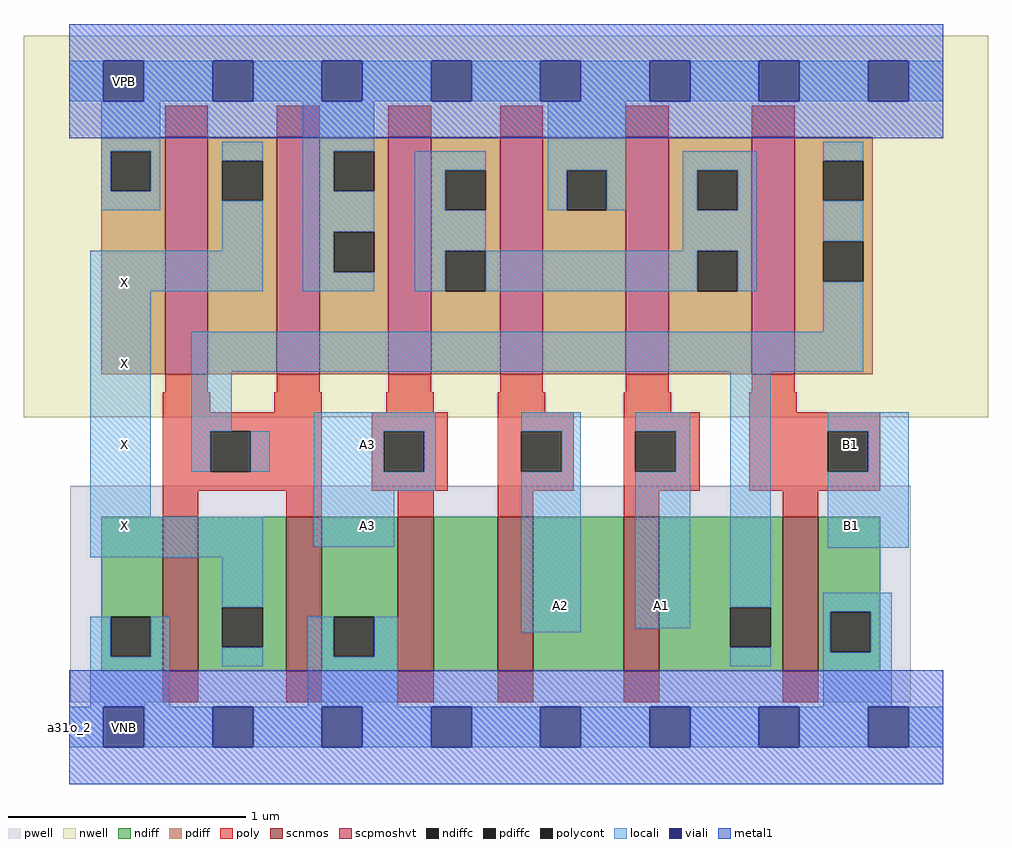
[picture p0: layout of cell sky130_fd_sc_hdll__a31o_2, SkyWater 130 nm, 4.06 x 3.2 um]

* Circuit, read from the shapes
.subckt sky130_fd_sc_hdll__a31o_2 A1 A2 A3 B1 VGND VNB VPB VPWR X
XM1 X n1 VGND VNB sky130_fd_pr__nfet_01v8 w=0.65 l=0.15 m=2
XM2 n2 A3 VGND VNB sky130_fd_pr__nfet_01v8 w=0.65 l=0.15
XM3 n3 A2 n2 VNB sky130_fd_pr__nfet_01v8 w=0.65 l=0.15
XM4 n1 A1 n3 VNB sky130_fd_pr__nfet_01v8 w=0.65 l=0.15
XM5 VGND B1 n1 VNB sky130_fd_pr__nfet_01v8 w=0.65 l=0.15
XM6 X n1 VPWR VPB sky130_fd_pr__pfet_01v8_hvt w=1 l=0.18 m=2
XM7 n4 A3 VPWR VPB sky130_fd_pr__pfet_01v8_hvt w=1 l=0.18
XM8 VPWR A2 n4 VPB sky130_fd_pr__pfet_01v8_hvt w=1 l=0.18
XM9 n4 A1 VPWR VPB sky130_fd_pr__pfet_01v8_hvt w=1 l=0.18
XM10 n1 B1 n4 VPB sky130_fd_pr__pfet_01v8_hvt w=1 l=0.18
.ends

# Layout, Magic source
magic
tech sky130A
magscale 1 2
<< nwell >>
rect -38 261 774 582
<< pwell >>
rect 1 21 709 203
rect 30 -17 64 21
<< scnmos >>
rect 79 47 109 177
rect 183 47 213 177
rect 277 47 307 177
rect 361 47 391 177
rect 467 47 497 177
rect 601 47 631 177
<< scpmoshvt >>
rect 81 297 117 497
rect 175 297 211 497
rect 269 297 305 497
rect 363 297 399 497
rect 469 297 505 497
rect 575 297 611 497
<< ndiff >>
rect 27 93 79 177
rect 27 59 35 93
rect 69 59 79 93
rect 27 47 79 59
rect 109 101 183 177
rect 109 67 129 101
rect 163 67 183 101
rect 109 47 183 67
rect 213 93 277 177
rect 213 59 223 93
rect 257 59 277 93
rect 213 47 277 59
rect 307 47 361 177
rect 391 47 467 177
rect 497 101 601 177
rect 497 67 557 101
rect 591 67 601 101
rect 497 47 601 67
rect 631 97 683 177
rect 631 63 641 97
rect 675 63 683 97
rect 631 47 683 63
<< pdiff >>
rect 27 485 81 497
rect 27 451 35 485
rect 69 451 81 485
rect 27 297 81 451
rect 117 477 175 497
rect 117 443 129 477
rect 163 443 175 477
rect 117 297 175 443
rect 211 485 269 497
rect 211 451 223 485
rect 257 451 269 485
rect 211 417 269 451
rect 211 383 223 417
rect 257 383 269 417
rect 211 297 269 383
rect 305 469 363 497
rect 305 435 317 469
rect 351 435 363 469
rect 305 401 363 435
rect 305 367 317 401
rect 351 367 363 401
rect 305 297 363 367
rect 399 469 469 497
rect 399 435 419 469
rect 453 435 469 469
rect 399 297 469 435
rect 505 469 575 497
rect 505 435 529 469
rect 563 435 575 469
rect 505 401 575 435
rect 505 367 529 401
rect 563 367 575 401
rect 505 297 575 367
rect 611 477 677 497
rect 611 443 635 477
rect 669 443 677 477
rect 611 409 677 443
rect 611 375 635 409
rect 669 375 677 409
rect 611 297 677 375
<< ndiffc >>
rect 35 59 69 93
rect 129 67 163 101
rect 223 59 257 93
rect 557 67 591 101
rect 641 63 675 97
<< pdiffc >>
rect 35 451 69 485
rect 129 443 163 477
rect 223 451 257 485
rect 223 383 257 417
rect 317 435 351 469
rect 317 367 351 401
rect 419 435 453 469
rect 529 435 563 469
rect 529 367 563 401
rect 635 443 669 477
rect 635 375 669 409
<< poly >>
rect 81 497 117 523
rect 175 497 211 523
rect 269 497 305 523
rect 363 497 399 523
rect 469 497 505 523
rect 575 497 611 523
rect 81 282 117 297
rect 175 282 211 297
rect 269 282 305 297
rect 363 282 399 297
rect 469 282 505 297
rect 575 282 611 297
rect 79 265 119 282
rect 173 265 213 282
rect 267 265 307 282
rect 361 265 401 282
rect 467 265 507 282
rect 573 265 613 282
rect 79 249 213 265
rect 79 215 119 249
rect 153 215 213 249
rect 79 199 213 215
rect 255 249 319 265
rect 255 215 265 249
rect 299 215 319 249
rect 255 199 319 215
rect 361 249 425 265
rect 361 215 381 249
rect 415 215 425 249
rect 361 199 425 215
rect 467 249 531 265
rect 467 215 477 249
rect 511 215 531 249
rect 467 199 531 215
rect 573 249 683 265
rect 573 215 639 249
rect 673 215 683 249
rect 573 199 683 215
rect 79 177 109 199
rect 183 177 213 199
rect 277 177 307 199
rect 361 177 391 199
rect 467 177 497 199
rect 601 177 631 199
rect 79 21 109 47
rect 183 21 213 47
rect 277 21 307 47
rect 361 21 391 47
rect 467 21 497 47
rect 601 21 631 47
<< polycont >>
rect 119 215 153 249
rect 265 215 299 249
rect 381 215 415 249
rect 477 215 511 249
rect 639 215 673 249
<< locali >>
rect 0 527 29 561
rect 63 527 121 561
rect 155 527 213 561
rect 247 527 305 561
rect 339 527 397 561
rect 431 527 489 561
rect 523 527 581 561
rect 615 527 673 561
rect 707 527 736 561
rect 27 485 77 527
rect 27 451 35 485
rect 69 451 77 485
rect 27 435 77 451
rect 129 477 163 493
rect 129 401 163 443
rect 18 367 163 401
rect 197 485 257 527
rect 197 451 223 485
rect 197 417 257 451
rect 197 383 223 417
rect 197 367 257 383
rect 291 469 351 485
rect 291 435 317 469
rect 403 469 469 527
rect 403 435 419 469
rect 453 435 469 469
rect 517 469 579 485
rect 517 435 529 469
rect 563 435 579 469
rect 291 401 351 435
rect 517 401 579 435
rect 291 367 317 401
rect 351 367 529 401
rect 563 367 579 401
rect 635 477 669 493
rect 635 409 669 443
rect 18 177 69 367
rect 635 333 669 375
rect 103 299 669 333
rect 103 249 137 299
rect 206 249 309 265
rect 103 215 119 249
rect 153 215 169 249
rect 206 215 265 249
rect 299 215 309 249
rect 206 199 309 215
rect 381 249 431 265
rect 415 215 431 249
rect 18 143 163 177
rect 206 152 274 199
rect 129 101 163 143
rect 18 59 35 93
rect 69 59 85 93
rect 18 17 85 59
rect 129 51 163 67
rect 201 59 223 93
rect 257 59 277 93
rect 381 80 431 215
rect 477 249 523 265
rect 511 215 523 249
rect 477 83 523 215
rect 557 101 591 299
rect 639 249 707 265
rect 673 215 707 249
rect 639 151 707 215
rect 201 17 277 59
rect 557 51 591 67
rect 635 97 693 113
rect 635 63 641 97
rect 675 63 693 97
rect 635 17 693 63
rect 0 -17 29 17
rect 63 -17 121 17
rect 155 -17 213 17
rect 247 -17 305 17
rect 339 -17 397 17
rect 431 -17 489 17
rect 523 -17 581 17
rect 615 -17 673 17
rect 707 -17 736 17
<< viali >>
rect 29 527 63 561
rect 121 527 155 561
rect 213 527 247 561
rect 305 527 339 561
rect 397 527 431 561
rect 489 527 523 561
rect 581 527 615 561
rect 673 527 707 561
rect 29 -17 63 17
rect 121 -17 155 17
rect 213 -17 247 17
rect 305 -17 339 17
rect 397 -17 431 17
rect 489 -17 523 17
rect 581 -17 615 17
rect 673 -17 707 17
<< metal1 >>
rect 0 561 736 592
rect 0 527 29 561
rect 63 527 121 561
rect 155 527 213 561
rect 247 527 305 561
rect 339 527 397 561
rect 431 527 489 561
rect 523 527 581 561
rect 615 527 673 561
rect 707 527 736 561
rect 0 496 736 527
rect 0 17 736 48
rect 0 -17 29 17
rect 63 -17 121 17
rect 155 -17 213 17
rect 247 -17 305 17
rect 339 -17 397 17
rect 431 -17 489 17
rect 523 -17 581 17
rect 615 -17 673 17
rect 707 -17 736 17
rect 0 -48 736 -17
<< labels >>
flabel locali s 30 153 64 187 0 FreeSans 200 0 0 0 X
port 9 nsew signal output
flabel locali s 641 221 675 255 0 FreeSans 200 0 0 0 B1
port 4 nsew signal input
flabel locali s 30 221 64 255 0 FreeSans 200 0 0 0 X
port 9 nsew signal output
flabel locali s 30 289 64 323 0 FreeSans 200 0 0 0 X
port 9 nsew signal output
flabel locali s 30 357 64 391 0 FreeSans 200 0 0 0 X
port 9 nsew signal output
flabel locali s 234 153 268 187 0 FreeSans 200 0 0 0 A3
port 3 nsew signal input
flabel locali s 482 85 516 119 0 FreeSans 200 0 0 0 A1
port 1 nsew signal input
flabel locali s 642 153 676 187 0 FreeSans 200 0 0 0 B1
port 4 nsew signal input
flabel locali s 234 221 268 255 0 FreeSans 200 0 0 0 A3
port 3 nsew signal input
flabel locali s 397 85 431 119 0 FreeSans 200 0 0 0 A2
port 2 nsew signal input
flabel pwell s 30 -17 64 17 0 FreeSans 200 0 0 0 VNB
port 6 nsew ground bidirectional
flabel nwell s 30 527 64 561 0 FreeSans 200 0 0 0 VPB
port 7 nsew power bidirectional
flabel metal1 s 30 -17 64 17 0 FreeSans 200 0 0 0 VGND
port 5 nsew ground bidirectional
flabel metal1 s 30 527 64 561 0 FreeSans 200 0 0 0 VPWR
port 8 nsew power bidirectional
rlabel comment s 0 0 0 0 4 a31o_2
<< properties >>
string LEFsite unithd
string LEFclass CORE
string FIXED_BBOX 0 0 736 544
string GDS_FILE $PDKPATH/libs.ref/sky130_fd_sc_hdll/gds/sky130_fd_sc_hdll.gds
string LEFsymmetry X Y R90
string GDS_END 1014996
string GDS_START 1008364
string LEFproperties maskLayoutSubType "abstract" prCellType "standard" originalViewName "layout"
<< end >>
